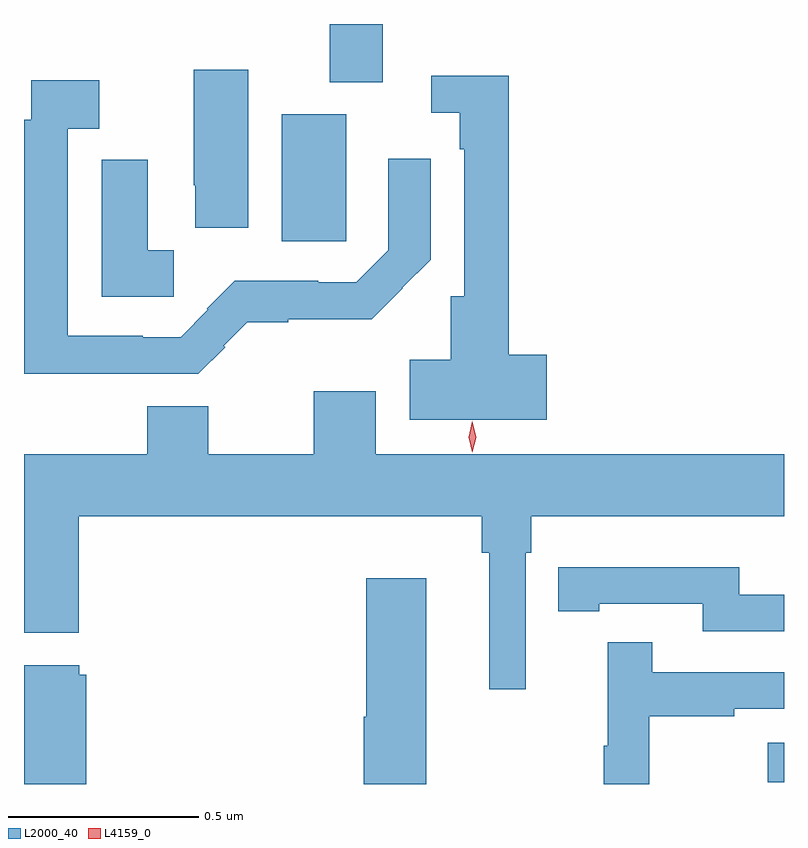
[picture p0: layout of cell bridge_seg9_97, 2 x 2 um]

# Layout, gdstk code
import gdstk
lib = gdstk.Library(unit=1e-6, precision=1e-09)
def R(c, l, rs):  # rectangles x0, y0, x1, y1
    for r in rs: c.add(gdstk.rectangle(r[:2], r[2:], *l))
def P(c, l, *ps):  # polygons
    for p in ps: c.add(gdstk.Polygon(p, *l))
L2000_40 = (2000, 40)
L4159_0 = (4159, 0)

bridge_seg9_97 = lib.new_cell('bridge_seg9_97')
R(bridge_seg9_97, L2000_40, [(760.035,1217.033,760.078,1217.137), (758.756,1218.456,758.926,1218.79), (758.882,1218.875,759.022,1219.028)])
P(bridge_seg9_97, L2000_40, [(758.668,1218.907),(758.525,1218.907),(758.525,1218.604),(758.529,1218.604),(758.529,1218.492),(758.668,1218.492)],
  [(759.454,1218.158),(759.353,1218.158),(759.353,1218.892),(759.15,1218.892),(759.15,1218.795),(759.225,1218.795),(759.225,1218.698),(759.237,1218.698),(759.237,1218.312),(759.201,1218.312),(759.201,1218.145),(759.093,1218.145),(759.093,1217.987),(759.454,1217.987)],
  [(758.607,1218.177),(758.603,1218.181),(758.665,1218.243),(758.773,1218.243),(758.773,1218.251),(758.993,1218.251),(759.075,1218.333),(759.074,1218.334),(759.148,1218.408),(759.148,1218.673),(759.036,1218.673),(759.036,1218.432),(758.952,1218.348),(758.852,1218.348),(758.852,1218.353),(758.633,1218.353),(758.559,1218.279),(758.562,1218.276),(758.49,1218.204),(758.39,1218.204),(758.39,1218.208),(758.193,1218.208),(758.193,1218.752),(758.276,1218.752),(758.276,1218.88),(758.097,1218.88),(758.097,1218.776),(758.078,1218.776),(758.078,1218.107),(758.537,1218.107)],
  [(758.472,1218.433),(758.404,1218.433),(758.404,1218.671),(758.282,1218.671),(758.282,1218.31),(758.472,1218.31)],
  [(759.399,1217.636),(759.413,1217.636),(759.413,1217.732),(760.078,1217.732),(760.078,1217.896),(759.004,1217.896),(759.004,1218.061),(758.84,1218.061),(758.84,1217.896),(758.563,1217.896),(758.563,1218.022),(758.402,1218.022),(758.402,1217.896),(758.078,1217.896),(758.078,1217.426),(758.222,1217.426),(758.222,1217.732),(759.283,1217.732),(759.283,1217.636),(759.302,1217.636),(759.302,1217.277),(759.399,1217.277)],
  [(760.078,1217.526),(759.96,1217.526),(759.96,1217.599),(759.592,1217.599),(759.592,1217.598),(759.484,1217.598),(759.484,1217.482),(759.592,1217.482),(759.592,1217.502),(759.864,1217.502),(759.864,1217.43),(760.078,1217.43)],
  [(759.136,1217.569),(758.978,1217.569),(758.978,1217.205),(758.972,1217.205),(758.972,1217.028),(759.136,1217.028)],
  [(759.724,1217.206),(759.947,1217.206),(759.947,1217.226),(760.078,1217.226),(760.078,1217.322),(759.731,1217.322),(759.731,1217.401),(759.614,1217.401),(759.614,1217.129),(759.603,1217.129),(759.603,1217.028),(759.724,1217.028)],
  [(758.242,1217.316),(758.223,1217.316),(758.223,1217.341),(758.078,1217.341),(758.078,1217.028),(758.242,1217.028)])
P(bridge_seg9_97, L4159_0, [(759.258,1217.901),(759.258,1217.901),(759.248,1217.941),(759.258,1217.982),(759.258,1217.982),(759.258,1217.982),(759.268,1217.941),(759.258,1217.901)])

lib.write_gds('bridge_seg9_97.gds')
